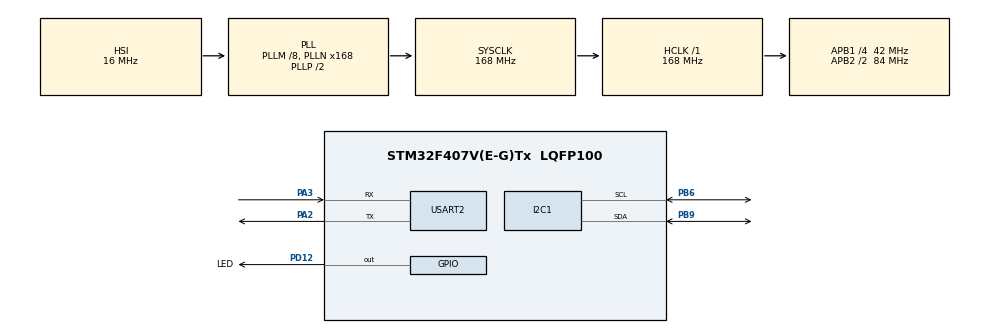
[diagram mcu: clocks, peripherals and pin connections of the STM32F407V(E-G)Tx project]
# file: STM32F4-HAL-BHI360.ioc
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I2C1.DutyCycle=I2C_DUTYCYCLE_16_9
I2C1.I2C_Mode=I2C_Fast
Mcu.Family=STM32F4
Mcu.Name=STM32F407V(E-G)Tx
Mcu.Package=LQFP100
NVIC.PriorityGroup=NVIC_PRIORITYGROUP_4
PA13.Mode=Serial_Wire
PA13.Signal=SYS_JTMS-SWDIO
PA14.Mode=Serial_Wire
PA14.Signal=SYS_JTCK-SWCLK
PA2.Mode=Asynchronous
PA2.Signal=USART2_TX
PA3.Mode=Asynchronous
PA3.Signal=USART2_RX
PB6.GPIO_Pu=GPIO_PULLUP
PB6.Mode=I2C
PB6.Signal=I2C1_SCL
PB9.GPIO_Pu=GPIO_PULLUP
PB9.Mode=I2C
PB9.Signal=I2C1_SDA
PD12.GPIO_Label=LED
PD12.Signal=GPIO_Output
ProjectManager.HeapSize=0x2000
ProjectManager.StackSize=0x4000
ProjectManager.TargetToolchain=STM32CubeIDE
RCC.48MHZClocksFreq_Value=84000000
RCC.ADC12Freq_Value=160000000
RCC.ADC345Freq_Value=160000000
RCC.AHBFreq_Value=168000000
RCC.APB1CLKDivider=RCC_HCLK_DIV4
RCC.APB1Freq_Value=42000000
RCC.APB1TimFreq_Value=84000000
RCC.APB2CLKDivider=RCC_HCLK_DIV2
RCC.APB2Freq_Value=84000000
RCC.APB2TimFreq_Value=168000000
RCC.CortexFreq_Value=168000000
RCC.EXTERNAL_CLOCK_VALUE=12288000
RCC.HCLKFreq_Value=168000000
RCC.HSE_VALUE=8000000
RCC.HSI48_VALUE=48000000
RCC.HSI_VALUE=16000000
RCC.LSE_VALUE=32768
RCC.PLLM=8
RCC.PLLN=168
RCC.SYSCLKFreq_VALUE=168000000
RCC.SYSCLKSource=RCC_SYSCLKSOURCE_PLLCLK
RCC.USBFreq_Value=160000000
RCC.VCOOutputFreq_Value=336000000
TIM2.AutoReloadPreload=TIM_AUTORELOAD_PRELOAD_DISABLE
TIM2.Period=0xFFFFFFFF
TIM2.Prescaler=84-1
USART2.VirtualMode=VM_ASYNC
USART2.VirtualMode-Asynchronous=VM_ASYNC
VP_TIM2_VS_ClockSourceINT.Mode=Internal
board=custom

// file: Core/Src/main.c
/* USER CODE BEGIN Header */
/**
  ******************************************************************************
  * @file           : main.c
  * @brief          : Main program body
  ******************************************************************************
  * @attention
  *
  * Copyright (c) 2024 STMicroelectronics.
  * All rights reserved.
  *
  * This software is licensed under terms that can be found in the LICENSE file
  * in the root directory of this software component.
  * If no LICENSE file comes with this software, it is provided AS-IS.
  *
  ******************************************************************************
  */
/* USER CODE END Header */
#include "main.h"

/* USER CODE BEGIN Includes */
#include <stdio.h>
#include <stdarg.h>

#include "common.h"
#include "bosch_imu.h"
/* USER CODE END Includes */

I2C_HandleTypeDef hi2c1;

TIM_HandleTypeDef htim2;

UART_HandleTypeDef huart2;

/* USER CODE BEGIN PV */

custom_printf_prt my_printf = NULL;	// pointer to log output function

uint64_t last_result = 0;

uint8_t sensor_reports = 0;

extern float Heading;
extern float Pitch;
extern float Roll;

extern float acc_x;
extern float acc_y;
extern float acc_z;

extern float gyr_x;
extern float gyr_y;
extern float gyr_z;

uint32_t prescaler;
/* USER CODE END PV */

void SystemClock_Config(void);
static void MX_GPIO_Init(void);
static void MX_USART2_UART_Init(void);
static void MX_TIM2_Init(void);
static void MX_I2C1_Init(void);
/* USER CODE BEGIN PFP */

void UART2_printf( const char * format, ... );
/* USER CODE END PFP */

int main(void)
{

  /* USER CODE BEGIN 1 */
	uint32_t led_tick=0, print_tick=0;
  /* USER CODE END 1 */

  /* MCU Configuration--------------------------------------------------------*/

  /* Reset of all peripherals, Initializes the Flash interface and the Systick. */
  HAL_Init();

  /* Configure the system clock */
  SystemClock_Config();

  /* Initialize all configured peripherals */
  MX_GPIO_Init();
  MX_USART2_UART_Init();
  MX_TIM2_Init();
  MX_I2C1_Init();
  /* USER CODE BEGIN 2 */
	HAL_TIM_Base_Start(&htim2);	// enable microseconds timesource

	// assign desired log info output function
	my_printf = (custom_printf_prt)UART2_printf;

	// clear the terminal screen
	//uint8_t form_feed_char = 12;
	//HAL_UART_Transmit(&huart2, &form_feed_char, 1, 100);

	my_printf("SystemCoreClock : %d MHz\n\r", SystemCoreClock/1000000);
	my_printf("tim2 prescaler : %d MHz\n\r", prescaler);

	bosch_imu_setup();
  /* USER CODE END 2 */

  /* Infinite loop */
  /* USER CODE BEGIN WHILE */
	while (1) {
		if ( ( micros() - last_result ) > 2000 ) {
			sensor_reports = 0;
		}

		// check if all three sensors did report
		if ( sensor_reports == 7u ) {
			// indicate successfull three sensors reading
			if (HAL_GetTick() - led_tick > 100) {
				led_tick = HAL_GetTick();
				HAL_GPIO_TogglePin(LED_GPIO_Port, LED_Pin);
			}

			if (HAL_GetTick() - print_tick > 1000) {
				print_tick = HAL_GetTick();
				// send the data
				my_printf("Euler:\t%4.2f %4.2f %4.2f \r\n", Heading, Pitch, Roll);
				my_printf("Accel:\t%4.2f %4.2f %4.2f \r\n", acc_x, acc_y, acc_z);
				my_printf("Gyro:\t%4.2f %4.2f %4.2f \r\n", gyr_x, gyr_y, gyr_z);
			}

			sensor_reports = 0;
		}

		bosch_imu_run();
	}
    /* USER CODE END WHILE */

}

void SystemClock_Config(void)
{
  RCC_OscInitTypeDef RCC_OscInitStruct = {0};
  RCC_ClkInitTypeDef RCC_ClkInitStruct = {0};

  /** Configure the main internal regulator output voltage
  */
  __HAL_RCC_PWR_CLK_ENABLE();
  __HAL_PWR_VOLTAGESCALING_CONFIG(PWR_REGULATOR_VOLTAGE_SCALE1);

  /** Initializes the RCC Oscillators according to the specified parameters
  * in the RCC_OscInitTypeDef structure.
  */
  RCC_OscInitStruct.OscillatorType = RCC_OSCILLATORTYPE_HSI;
  RCC_OscInitStruct.HSIState = RCC_HSI_ON;
  RCC_OscInitStruct.HSICalibrationValue = RCC_HSICALIBRATION_DEFAULT;
  RCC_OscInitStruct.PLL.PLLState = RCC_PLL_ON;
  RCC_OscInitStruct.PLL.PLLSource = RCC_PLLSOURCE_HSI;
  RCC_OscInitStruct.PLL.PLLM = 8;
  RCC_OscInitStruct.PLL.PLLN = 168;
  RCC_OscInitStruct.PLL.PLLP = RCC_PLLP_DIV2;
  RCC_OscInitStruct.PLL.PLLQ = 4;
  if (HAL_RCC_OscConfig(&RCC_OscInitStruct) != HAL_OK)
  {
    Error_Handler();
  }

  /** Initializes the CPU, AHB and APB buses clocks
  */
  RCC_ClkInitStruct.ClockType = RCC_CLOCKTYPE_HCLK|RCC_CLOCKTYPE_SYSCLK
                              |RCC_CLOCKTYPE_PCLK1|RCC_CLOCKTYPE_PCLK2;
  RCC_ClkInitStruct.SYSCLKSource = RCC_SYSCLKSOURCE_PLLCLK;
  RCC_ClkInitStruct.AHBCLKDivider = RCC_SYSCLK_DIV1;
  RCC_ClkInitStruct.APB1CLKDivider = RCC_HCLK_DIV4;
  RCC_ClkInitStruct.APB2CLKDivider = RCC_HCLK_DIV2;

  if (HAL_RCC_ClockConfig(&RCC_ClkInitStruct, FLASH_LATENCY_5) != HAL_OK)
  {
    Error_Handler();
  }
}

static void MX_I2C1_Init(void)
{

  hi2c1.Instance = I2C1;
  hi2c1.Init.ClockSpeed = 400000;
  hi2c1.Init.DutyCycle = I2C_DUTYCYCLE_16_9;
  hi2c1.Init.OwnAddress1 = 0;
  hi2c1.Init.AddressingMode = I2C_ADDRESSINGMODE_7BIT;
  hi2c1.Init.DualAddressMode = I2C_DUALADDRESS_DISABLE;
  hi2c1.Init.OwnAddress2 = 0;
  hi2c1.Init.GeneralCallMode = I2C_GENERALCALL_DISABLE;
  hi2c1.Init.NoStretchMode = I2C_NOSTRETCH_DISABLE;
  if (HAL_I2C_Init(&hi2c1) != HAL_OK)
  {
    Error_Handler();
  }

}

static void MX_TIM2_Init(void)
{

  /* USER CODE BEGIN TIM2_Init 0 */
	prescaler = (HAL_RCC_GetPCLK1Freq() / 1000000);

	if ((RCC->CFGR & RCC_CFGR_PPRE1) != 0)
		prescaler *= 2;

  /* USER CODE END TIM2_Init 0 */

  TIM_ClockConfigTypeDef sClockSourceConfig = {0};
  TIM_MasterConfigTypeDef sMasterConfig = {0};

  htim2.Instance = TIM2;
  htim2.Init.Prescaler = 84-1;
  htim2.Init.CounterMode = TIM_COUNTERMODE_UP;
  htim2.Init.Period = 0xFFFFFFFF;
  htim2.Init.ClockDivision = TIM_CLOCKDIVISION_DIV1;
  htim2.Init.AutoReloadPreload = TIM_AUTORELOAD_PRELOAD_DISABLE;
  if (HAL_TIM_Base_Init(&htim2) != HAL_OK)
  {
    Error_Handler();
  }
  sClockSourceConfig.ClockSource = TIM_CLOCKSOURCE_INTERNAL;
  if (HAL_TIM_ConfigClockSource(&htim2, &sClockSourceConfig) != HAL_OK)
  {
    Error_Handler();
  }
  sMasterConfig.MasterOutputTrigger = TIM_TRGO_RESET;
  sMasterConfig.MasterSlaveMode = TIM_MASTERSLAVEMODE_DISABLE;
  if (HAL_TIMEx_MasterConfigSynchronization(&htim2, &sMasterConfig) != HAL_OK)
  {
    Error_Handler();
  }

}

static void MX_USART2_UART_Init(void)
{

  huart2.Instance = USART2;
  huart2.Init.BaudRate = 115200;
  huart2.Init.WordLength = UART_WORDLENGTH_8B;
  huart2.Init.StopBits = UART_STOPBITS_1;
  huart2.Init.Parity = UART_PARITY_NONE;
  huart2.Init.Mode = UART_MODE_TX_RX;
  huart2.Init.HwFlowCtl = UART_HWCONTROL_NONE;
  huart2.Init.OverSampling = UART_OVERSAMPLING_16;
  if (HAL_UART_Init(&huart2) != HAL_OK)
  {
    Error_Handler();
  }

}

static void MX_GPIO_Init(void)
{
  GPIO_InitTypeDef GPIO_InitStruct = {0};

  /* GPIO Ports Clock Enable */
  __HAL_RCC_GPIOA_CLK_ENABLE();
  __HAL_RCC_GPIOD_CLK_ENABLE();
  __HAL_RCC_GPIOB_CLK_ENABLE();

  /*Configure GPIO pin Output Level */
  HAL_GPIO_WritePin(LED_GPIO_Port, LED_Pin, GPIO_PIN_RESET);

  /*Configure GPIO pin : LED_Pin */
  GPIO_InitStruct.Pin = LED_Pin;
  GPIO_InitStruct.Mode = GPIO_MODE_OUTPUT_PP;
  GPIO_InitStruct.Pull = GPIO_NOPULL;
  GPIO_InitStruct.Speed = GPIO_SPEED_FREQ_LOW;
  HAL_GPIO_Init(LED_GPIO_Port, &GPIO_InitStruct);

}

/* USER CODE BEGIN 4 */
/*
int8_t bhy2_spi_read(uint8_t reg_addr, uint8_t *reg_data, uint32_t length, void *intf_ptr)
{
	(void)intf_ptr;

	return coines_read_spi(COINES_SPI_BUS_0, cs_pin, reg_addr, reg_data, (uint16_t)length);
}

int8_t bhy2_spi_write(uint8_t reg_addr, const uint8_t *reg_data, uint32_t length, void *intf_ptr)
{
	(void)intf_ptr;

	return coines_write_spi(COINES_SPI_BUS_0, cs_pin, reg_addr, (uint8_t *)reg_data, (uint16_t)length);
}
*/

int8_t bhy2_i2c_read(uint8_t reg_addr, uint8_t *reg_data, uint32_t length, void *intf_ptr)
{
	(void)intf_ptr;

	if ( HAL_I2C_Mem_Read(&hi2c1, 0x28<<1, reg_addr, I2C_MEMADD_SIZE_8BIT, reg_data, (uint16_t)length, 100) == HAL_OK ) {
		return 0;
	} else {
		return 1;
	}
}

int8_t bhy2_i2c_write(uint8_t reg_addr,const uint8_t *reg_data, uint32_t length, void *intf_ptr)
{
	(void)intf_ptr;

	if ( HAL_I2C_Mem_Write(&hi2c1, 0x28<<1, reg_addr, I2C_MEMADD_SIZE_8BIT, (uint8_t *)reg_data, (uint16_t)length, 100) == HAL_OK ) {
		return 0;
	} else {
		return 1;
	}
}

void bhy2_delay_us(uint32_t us, void *private_data)
{
	(void)private_data;
	micros_delay( us );
}

uint64_t micros(void)
{
	__IO uint32_t usTicks = __HAL_TIM_GET_COUNTER(&htim2);
	return usTicks;
}

void micros_delay( uint32_t delay )
{
	__IO uint32_t usTicks = __HAL_TIM_GET_COUNTER(&htim2) + delay;
	while ( __HAL_TIM_GET_COUNTER(&htim2) < usTicks );
}

void UART2_printf( const char * format, ... )
{
	char buffer[256] = {0};
	va_list args;
	va_start (args, format);
	int len = vsnprintf (buffer, sizeof(buffer), format, args);
	va_end (args);

	HAL_UART_Transmit(&huart2, (const uint8_t*)buffer, len, 100);
}
/* USER CODE END 4 */

void Error_Handler(void)
{
  /* USER CODE BEGIN Error_Handler_Debug */
	/* User can add his own implementation to report the HAL error return state */
	uint32_t current_psp = __get_PSP();
	ExceptionStackFrame *hardfault_stack_frame = (ExceptionStackFrame *)(current_psp);
	uint32_t pc_value_at_fault = hardfault_stack_frame->pc;

	my_printf("lr:0x%x \n\r", hardfault_stack_frame->lr);
	my_printf("pc:0x%x \n\r", pc_value_at_fault);

	my_printf("I've fallen into Error Handler \n\r");

	__disable_irq();
	while (1) {
	}
  /* USER CODE END Error_Handler_Debug */
}
